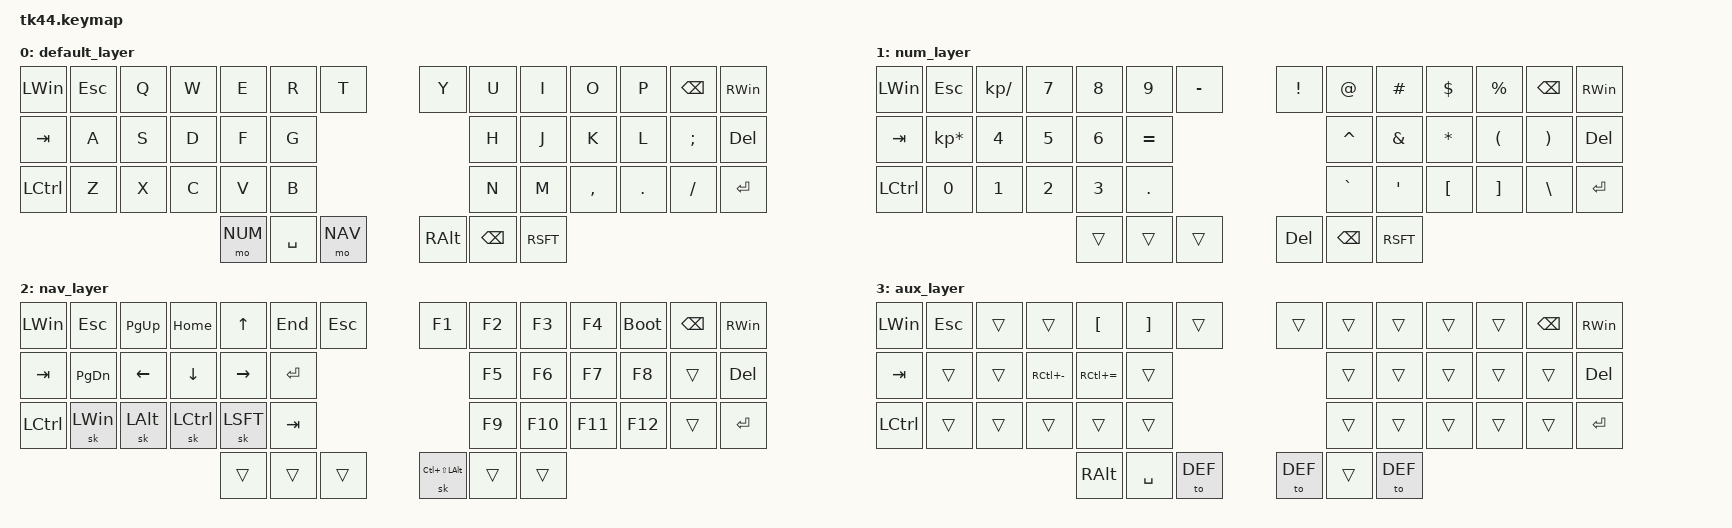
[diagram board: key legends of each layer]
/*
 * Copyright (c) 2020 The ZMK Contributors
 *
 * SPDX-License-Identifier: MIT
 */

#include <behaviors.dtsi>
#include <dt-bindings/zmk/keys.h>
#include <dt-bindings/zmk/bt.h>
#include <dt-bindings/zmk/outputs.h>

#define DEF 0
#define NUM 1
#define NAV 2
#define AUX 3


&sk {
    release-after-ms = <5000>;
    //quick-release;
    //delete-property/ ignore-modifiers;
};

#define COMBO(NAME, BINDINGS, KEYPOS) \
  combo_##NAME { \
    timeout-ms = <20>; \
    bindings = <BINDINGS>; \
    key-positions = <KEYPOS>; \
  };

/ {
    combos {
        compatible = "zmk,combos";
        COMBO(1, &kp ESC,5 6)
        COMBO(2, &kp RET,18 19)
        COMBO(3, &kp TAB,30 31)
        COMBO(4, &to AUX,29 30)
        
        COMBO(5,&sk LC(LSHFT),20 21)
        COMBO(6,&sk LC(LALT),21 32)
        COMBO(7,&sk LS(LALT),20 33)
        COMBO(8,&sk LC(LS(LALT)),32 33)
        COMBO(9,&kp LG(SPACE), 2 3)
    };
};

/ {
        keymap {
                compatible = "zmk,keymap";

                default_layer {

                        bindings = <
&kp LWIN &kp ESC   &kp Q           &kp W    &kp E         &kp R         &kp T            &kp Y     &kp U    &kp I     &kp O    &kp P       &kp BSPC &kp RWIN
         &kp TAB   &kp A           &kp S    &kp D         &kp F         &kp G            &kp H     &kp J    &kp K     &kp L    &kp SEMI    &kp DEL  
         &kp LCTRL &kp Z           &kp X    &kp C         &kp V         &kp B            &kp N     &kp M    &kp COMMA &kp DOT  &kp SLASH   &kp RET  
         &mo NUM   &kp SPACE       &mo NAV    &kp RALT      &kp BSPC      &kp RSFT         
                        >;
                };
                num_layer {

                        bindings = <
&kp LWIN &kp ESC   &kp KP_DIVIDE   &kp N7   &kp N8        &kp N9        &kp MINUS        &kp EXCL  &kp AT   &kp HASH  &kp DLLR &kp PRCNT   &kp BSPC &kp RWIN
         &kp TAB   &kp KP_MULTIPLY &kp N4   &kp N5        &kp N6        &kp EQUAL        &kp CARET &kp AMPS &kp STAR  &kp LPAR &kp RPAR    &kp DEL  
         &kp LCTRL &kp N0          &kp N1   &kp N2        &kp N3        &kp DOT          &kp GRAVE &kp SQT  &kp LBKT  &kp RBKT &kp BSLH    &kp RET  
         &trans    &trans          &trans   &kp DEL &kp BSPC &kp RSFT 
                        >;
                };

                nav_layer {

                        bindings = <
&kp LWIN &kp ESC   &kp PG_UP       &kp HOME &kp UP        &kp END       &kp ESC          &kp F1    &kp F2   &kp F3    &kp F4   &bootloader &kp BSPC &kp RWIN
         &kp TAB   &kp PG_DN       &kp LEFT &kp DOWN      &kp RIGHT     &kp RET          &kp F5    &kp F6   &kp F7    &kp F8   &trans      &kp DEL  
         &kp LCTRL &sk LWIN        &sk LALT &sk LCTL      &sk LSFT      &kp TAB          &kp F9    &kp F10  &kp F11   &kp F12  &trans      &kp RET  
         &trans    &trans          &trans   &sk LC(LS(LALT))         &trans        &trans   
                        >;
                };

                aux_layer {

                        bindings = <
&kp LWIN &kp ESC   &trans          &trans   &kp LBKT         &kp RBKT      &trans     &trans    &trans   &trans    &trans   &trans      &kp BSPC &kp RWIN
         &kp TAB   &trans          &trans   &kp RC(MINUS)    &kp RC(EQUAL) &trans     &trans    &trans   &trans    &trans   &trans      &kp DEL  
         &kp LCTRL &trans          &trans   &trans           &trans        &trans     &trans    &trans   &trans    &trans   &trans      &kp RET  
         &kp RALT    &kp SPACE       &to DEF  &to DEF          &trans        &to DEF  
                        >;
                };

        };
};
